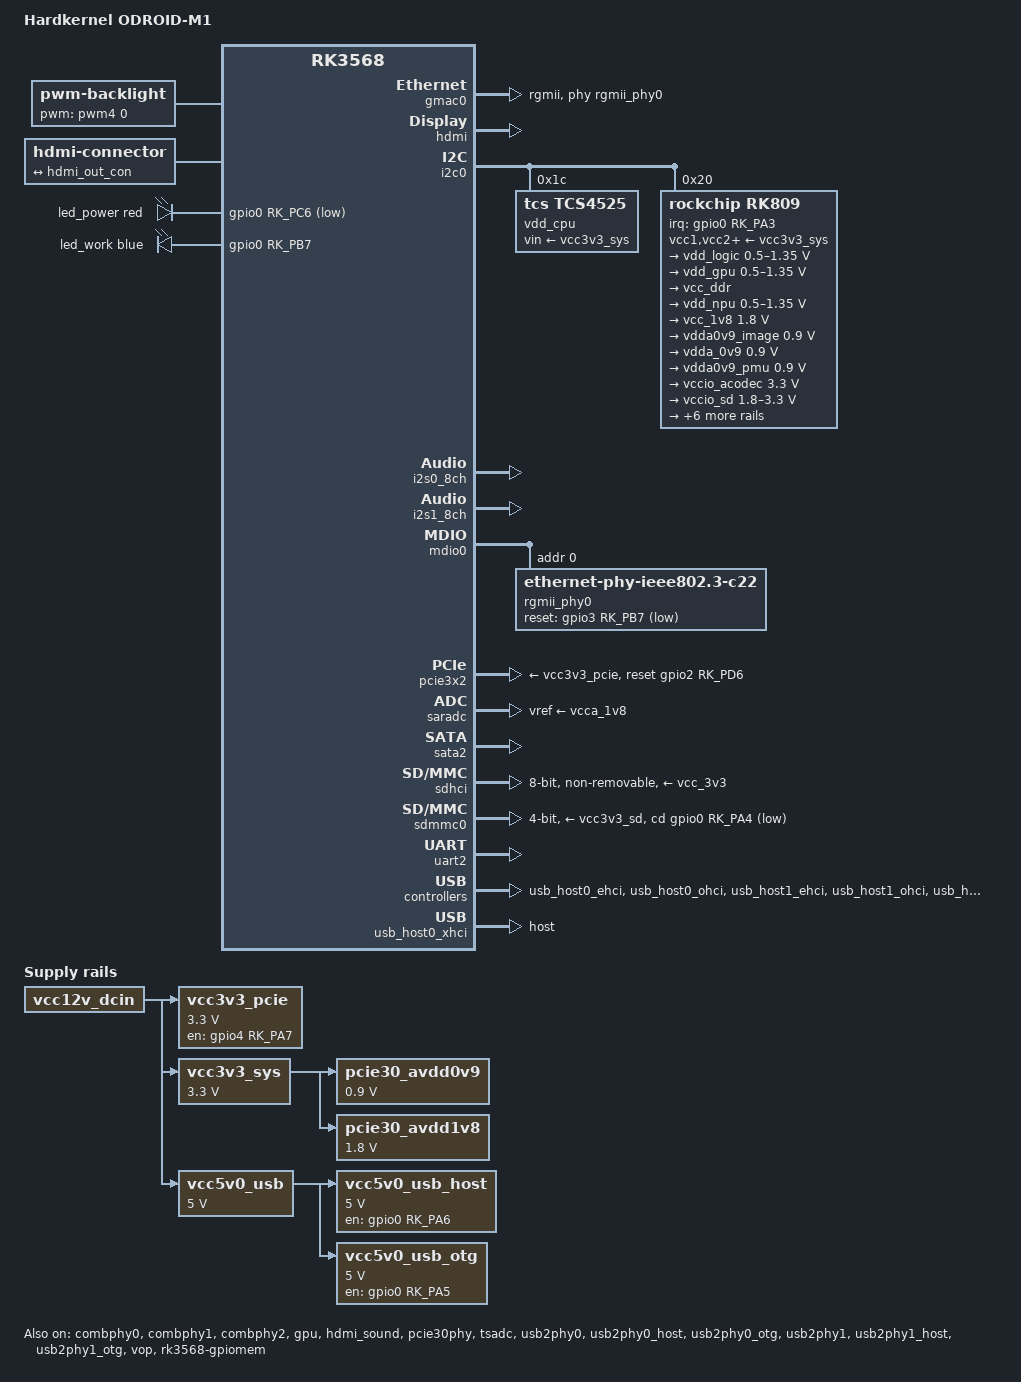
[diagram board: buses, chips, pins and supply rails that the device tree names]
// SPDX-License-Identifier: (GPL-2.0+ OR MIT)
/*
 * Copyright (c) 2022 Hardkernel Co., Ltd.
 *
 */

/dts-v1/;
#include <dt-bindings/gpio/gpio.h>
#include <dt-bindings/leds/common.h>
#include <dt-bindings/pinctrl/rockchip.h>
#include <dt-bindings/soc/rockchip,vop2.h>
#include "rk3568.dtsi"

/ {
	model = "Hardkernel ODROID-M1";
	compatible = "rockchip,rk3568-odroid-m1", "rockchip,rk3568";

	aliases {
		ethernet0 = &gmac0;
		i2c0 = &i2c3;
		i2c3 = &i2c0;
		mmc0 = &sdhci;
		mmc1 = &sdmmc0;
		serial0 = &uart1;
		serial1 = &uart0;
	};

	backlight: backlight {
		compatible = "pwm-backlight";
		pwms = <&pwm4 0 25000 0>;
		default-brightness-level = <200>;
		brightness-levels = <
			0  20  20  21  21  22  22  23
			23  24  24  25  25  26  26  27
			27  28  28  29  29  30  30  31
			31  32  32  33  33  34  34  35
			35  36  36  37  37  38  38  39
			40  41  42  43  44  45  46  47
			48  49  50  51  52  53  54  55
			56  57  58  59  60  61  62  63
			64  65  66  67  68  69  70  71
			72  73  74  75  76  77  78  79
			80  81  82  83  84  85  86  87
			88  89  90  91  92  93  94  95
			96  97  98  99 100 101 102 103
			104 105 106 107 108 109 110 111
			112 113 114 115 116 117 118 119
			120 121 122 123 124 125 126 127
			128 129 130 131 132 133 134 135
			136 137 138 139 140 141 142 143
			144 145 146 147 148 149 150 151
			152 153 154 155 156 157 158 159
			160 161 162 163 164 165 166 167
			168 169 170 171 172 173 174 175
			176 177 178 179 180 181 182 183
			184 185 186 187 188 189 190 191
			192 193 194 195 196 197 198 199
			200 201 202 203 204 205 206 207
			208 209 210 211 212 213 214 215
			216 217 218 219 220 221 222 223
			224 225 226 227 228 229 230 231
			232 233 234 235 236 237 238 239
			240 241 242 243 244 245 246 247
			248 249 250 251 252 253 254 255
			>;
	};

	chosen: chosen {
		stdout-path = "serial2:1500000n8";
	};

	hdmi-con {
		compatible = "hdmi-connector";
		type = "a";

		port {
			hdmi_con_in: endpoint {
				remote-endpoint = <&hdmi_out_con>;
			};
		};
	};

	lcd_pwren: lcd-pwren {
		compatible = "regulator-fixed";
		status = "disabled";
		regulator-name = "lcd_pwren";
		regulator-boot-on;
		enable-active-high;
		gpio = <&gpio0 RK_PC7 GPIO_ACTIVE_HIGH>;
		vin-supply = <&vcc3v3_sys>;
	};

	leds: leds {
		compatible = "gpio-leds";

		led_power: led-0 {
			gpios = <&gpio0 RK_PC6 GPIO_ACTIVE_LOW>;
			function = LED_FUNCTION_POWER;
			color = <LED_COLOR_ID_RED>;
			linux,default-trigger = "default-on";
			pinctrl-names = "default";
			pinctrl-0 = <&led_power_en>;
		};
		led_work: led-1 {
			gpios = <&gpio0 RK_PB7 GPIO_ACTIVE_HIGH>;
			function = LED_FUNCTION_HEARTBEAT;
			color = <LED_COLOR_ID_BLUE>;
			linux,default-trigger = "heartbeat";
			pinctrl-names = "default";
			pinctrl-0 = <&led_work_en>;
		};
	};

	rk809-sound {
		compatible = "simple-audio-card";
		simple-audio-card,format = "i2s";
		simple-audio-card,name = "ODROID-M1-FRONT";
		simple-audio-card,mclk-fs = <256>;
		status = "okay";

		simple-audio-card,cpu {
			sound-dai = <&i2s1_8ch>;
		};

		simple-audio-card,codec {
			sound-dai = <&rk809>;
		};
	};

	rk3568-gpiomem {
		compatible = "rockchip,rk3568-gpiomem";
		reg= <0x0 0xfd660000 0x0 0x1000>;
		status = "okay";
	};

	pcie30_avdd0v9: pcie30-avdd0v9 {
		compatible = "regulator-fixed";
		regulator-name = "pcie30_avdd0v9";
		regulator-always-on;
		regulator-boot-on;
		regulator-min-microvolt = <900000>;
		regulator-max-microvolt = <900000>;
		vin-supply = <&vcc3v3_sys>;
	};

	pcie30_avdd1v8: pcie30-avdd1v8 {
	        compatible = "regulator-fixed";
	        regulator-name = "pcie30_avdd1v8";
		regulator-always-on;
		regulator-boot-on;
		regulator-min-microvolt = <1800000>;
		regulator-max-microvolt = <1800000>;
		vin-supply = <&vcc3v3_sys>;
	};

	vcc12v_dcin: vcc12v-dcin {
		compatible = "regulator-fixed";
		regulator-name = "vcc12v_dcin";
		regulator-always-on;
		regulator-boot-on;
	};

	vcc3v3_pcie: gpio-regulator {
		compatible = "regulator-fixed";
		regulator-name = "vcc3v3_pcie";
		enable-active-high;
		regulator-min-microvolt = <3300000>;
		regulator-max-microvolt = <3300000>;
		gpio = <&gpio4 RK_PA7 GPIO_ACTIVE_HIGH>;
		startup-delay-us = <5000>;
		vin-supply = <&vcc12v_dcin>;
	};

	vcc3v3_sys: vcc3v3-sys {
		compatible = "regulator-fixed";
		regulator-name = "vcc3v3_sys";
		regulator-always-on;
		regulator-boot-on;
		regulator-min-microvolt = <3300000>;
		regulator-max-microvolt = <3300000>;
		vin-supply = <&vcc12v_dcin>;
	};

	vcc5v0_usb: vcc5v0-usb {
		compatible = "regulator-fixed";
		regulator-name = "vcc5v0_usb";
		regulator-always-on;
		regulator-boot-on;
		regulator-min-microvolt = <5000000>;
		regulator-max-microvolt = <5000000>;
		vin-supply = <&vcc12v_dcin>;
	};

	vcc5v0_usb_host: vcc5v0-usb-host {
		compatible = "regulator-fixed";
		enable-active-high;
		gpio = <&gpio0 RK_PA6 GPIO_ACTIVE_HIGH>;
		pinctrl-names = "default";
		pinctrl-0 = <&vcc5v0_usb_host_en>;
		regulator-name = "vcc5v0_usb_host";
		regulator-min-microvolt = <5000000>;
		regulator-max-microvolt = <5000000>;
		vin-supply = <&vcc5v0_usb>;
	};

	vcc5v0_usb_otg: vcc5v0-usb-otg {
		compatible = "regulator-fixed";
		enable-active-high;
		gpio = <&gpio0 RK_PA5 GPIO_ACTIVE_HIGH>;
		pinctrl-names = "default";
		pinctrl-0 = <&vcc5v0_usb_otg_en>;
		regulator-name = "vcc5v0_usb_otg";
		regulator-min-microvolt = <5000000>;
		regulator-max-microvolt = <5000000>;
		vin-supply = <&vcc5v0_usb>;
	};
};

&combphy0 {
	phy-supply = <&vcc5v0_usb_host>;
	status = "okay";
};

&combphy1 {
	phy-supply = <&vcc5v0_usb_otg>;
	status = "okay";
};

&combphy2 {
	status = "okay";
};

&cpu0 {
	cpu-supply = <&vdd_cpu>;
};

&cpu1 {
	cpu-supply = <&vdd_cpu>;
};

&cpu2 {
	cpu-supply = <&vdd_cpu>;
};

&cpu3 {
	cpu-supply = <&vdd_cpu>;
};

&dsi0 {
	#address-cells = <1>;
	#size-cells = <0>;

	status = "disabled";

	ports {
		dsi0_in: port@0 {
			reg = <0>;

			dsi0_in_vp1: endpoint {
				remote-endpoint = <&vp1_out_dsi0>;
			};
		};

		dsi0_out: port@1 {
			reg = <1>;

			mipi_out_panel: endpoint {
				remote-endpoint = <&mipi_in_panel>;
			};
		};
	};

	panel: panel@0 {
		compatible = "elida,hj080be31ia1";
		reg = <0>;

		status = "disabled";

		backlight = <&backlight>;
		power-supply = <&lcd_pwren>;
		reset-gpios = <&gpio2 RK_PC6 GPIO_ACTIVE_LOW>;

		port {
			mipi_in_panel: endpoint {
				remote-endpoint = <&mipi_out_panel>;
			};
		};
	};
};

&gmac0 {
	assigned-clocks = <&cru SCLK_GMAC0_RX_TX>, <&cru SCLK_GMAC0>;
	assigned-clock-parents = <&cru SCLK_GMAC0_RGMII_SPEED>;
	assigned-clock-rates = <0>, <125000000>;
	clock_in_out = "output";
	phy-handle = <&rgmii_phy0>;
	phy-mode = "rgmii";
	pinctrl-names = "default";
	pinctrl-0 = <&gmac0_miim
		     &gmac0_tx_bus2
		     &gmac0_rx_bus2
		     &gmac0_rgmii_clk
		     &gmac0_rgmii_bus>;
	status = "okay";

	tx_delay = <0x4f>;
	rx_delay = <0x2d>;
};

&gpu {
	mali-supply = <&vdd_gpu>;
	status = "okay";
};

&hdmi {
	avdd-0v9-supply = <&vdda0v9_image>;
	avdd-1v8-supply = <&vcca1v8_image>;
	status = "okay";
};

&hdmi_in {
	hdmi_in_vp0: endpoint {
		remote-endpoint = <&vp0_out_hdmi>;
	};
};

&hdmi_out {
	hdmi_out_con: endpoint {
		remote-endpoint = <&hdmi_con_in>;
	};
};

&hdmi_sound {
	simple-audio-card,name = "ODROID-M1-HDMI";
	status = "okay";
};

&i2c0 {
	status = "okay";

	vdd_cpu: regulator@1c {
		compatible = "tcs,tcs4525";
		reg = <0x1c>;
		fcs,suspend-voltage-selector = <1>;
		regulator-name = "vdd_cpu";
		regulator-always-on;
		regulator-boot-on;
		regulator-min-microvolt = <800000>;
		regulator-max-microvolt = <1150000>;
		regulator-ramp-delay = <2300>;
		vin-supply = <&vcc3v3_sys>;

		regulator-state-mem {
			regulator-off-in-suspend;
		};
	};

	rk809: pmic@20 {
		compatible = "rockchip,rk809";
		reg = <0x20>;
		interrupt-parent = <&gpio0>;
		interrupts = <RK_PA3 IRQ_TYPE_LEVEL_LOW>;
		assigned-clocks = <&cru I2S1_MCLKOUT_TX>;
		assigned-clock-parents = <&cru CLK_I2S1_8CH_TX>;
		#clock-cells = <1>;
		clock-names = "mclk";
		clocks = <&cru I2S1_MCLKOUT_TX>;
		pinctrl-names = "default";
		pinctrl-0 = <&pmic_int>, <&i2s1m0_mclk>;
		rockchip,system-power-controller;
		#sound-dai-cells = <0>;
		vcc1-supply = <&vcc3v3_sys>;
		vcc2-supply = <&vcc3v3_sys>;
		vcc3-supply = <&vcc3v3_sys>;
		vcc4-supply = <&vcc3v3_sys>;
		vcc5-supply = <&vcc3v3_sys>;
		vcc6-supply = <&vcc3v3_sys>;
		vcc7-supply = <&vcc3v3_sys>;
		vcc8-supply = <&vcc3v3_sys>;
		vcc9-supply = <&vcc3v3_sys>;
		wakeup-source;

		regulators {
			vdd_logic: DCDC_REG1 {
				regulator-name = "vdd_logic";
				regulator-always-on;
				regulator-boot-on;
				regulator-init-microvolt = <900000>;
				regulator-initial-mode = <0x2>;
				regulator-min-microvolt = <500000>;
				regulator-max-microvolt = <1350000>;
				regulator-ramp-delay = <6001>;

				regulator-state-mem {
					regulator-off-in-suspend;
				};
			};

			vdd_gpu: DCDC_REG2 {
				regulator-name = "vdd_gpu";
				regulator-always-on;
				regulator-init-microvolt = <900000>;
				regulator-initial-mode = <0x2>;
				regulator-min-microvolt = <500000>;
				regulator-max-microvolt = <1350000>;
				regulator-ramp-delay = <6001>;

				regulator-state-mem {
					regulator-off-in-suspend;
				};
			};

			vcc_ddr: DCDC_REG3 {
				regulator-name = "vcc_ddr";
				regulator-always-on;
				regulator-boot-on;
				regulator-initial-mode = <0x2>;

				regulator-state-mem {
					regulator-on-in-suspend;
				};
			};

			vdd_npu: DCDC_REG4 {
				regulator-name = "vdd_npu";
				regulator-init-microvolt = <900000>;
				regulator-initial-mode = <0x2>;
				regulator-min-microvolt = <500000>;
				regulator-max-microvolt = <1350000>;
				regulator-ramp-delay = <6001>;

				regulator-state-mem {
					regulator-off-in-suspend;
				};
			};

			vcc_1v8: DCDC_REG5 {
				regulator-name = "vcc_1v8";
				regulator-always-on;
				regulator-boot-on;
				regulator-min-microvolt = <1800000>;
				regulator-max-microvolt = <1800000>;

				regulator-state-mem {
					regulator-off-in-suspend;
				};
			};

			vdda0v9_image: LDO_REG1 {
				regulator-name = "vdda0v9_image";
				regulator-always-on;
				regulator-min-microvolt = <900000>;
				regulator-max-microvolt = <900000>;

				regulator-state-mem {
					regulator-off-in-suspend;
				};
			};

			vdda_0v9: LDO_REG2 {
				regulator-name = "vdda_0v9";
				regulator-always-on;
				regulator-boot-on;
				regulator-min-microvolt = <900000>;
				regulator-max-microvolt = <900000>;

				regulator-state-mem {
					regulator-off-in-suspend;
				};
			};

			vdda0v9_pmu: LDO_REG3 {
				regulator-name = "vdda0v9_pmu";
				regulator-always-on;
				regulator-boot-on;
				regulator-min-microvolt = <900000>;
				regulator-max-microvolt = <900000>;

				regulator-state-mem {
					regulator-on-in-suspend;
					regulator-suspend-microvolt = <900000>;
				};
			};

			vccio_acodec: LDO_REG4 {
				regulator-name = "vccio_acodec";
				regulator-always-on;
				regulator-min-microvolt = <3300000>;
				regulator-max-microvolt = <3300000>;

				regulator-state-mem {
					regulator-off-in-suspend;
				};
			};

			vccio_sd: LDO_REG5 {
				regulator-name = "vccio_sd";
				regulator-min-microvolt = <1800000>;
				regulator-max-microvolt = <3300000>;

				regulator-state-mem {
					regulator-off-in-suspend;
				};
			};

			vcc3v3_pmu: LDO_REG6 {
				regulator-name = "vcc3v3_pmu";
				regulator-always-on;
				regulator-boot-on;
				regulator-min-microvolt = <3300000>;
				regulator-max-microvolt = <3300000>;

				regulator-state-mem {
					regulator-on-in-suspend;
					regulator-suspend-microvolt = <3300000>;
				};
			};

			vcca_1v8: LDO_REG7 {
				regulator-name = "vcca_1v8";
				regulator-always-on;
				regulator-boot-on;
				regulator-min-microvolt = <1800000>;
				regulator-max-microvolt = <1800000>;

				regulator-state-mem {
					regulator-off-in-suspend;
				};
			};

			vcca1v8_pmu: LDO_REG8 {
				regulator-name = "vcca1v8_pmu";
				regulator-always-on;
				regulator-boot-on;
				regulator-min-microvolt = <1800000>;
				regulator-max-microvolt = <1800000>;

				regulator-state-mem {
					regulator-on-in-suspend;
					regulator-suspend-microvolt = <1800000>;
				};
			};

			vcca1v8_image: LDO_REG9 {
				regulator-name = "vcca1v8_image";
				regulator-always-on;
				regulator-min-microvolt = <1800000>;
				regulator-max-microvolt = <1800000>;

				regulator-state-mem {
					regulator-off-in-suspend;
				};
			};

			vcc_3v3: SWITCH_REG1 {
				regulator-name = "vcc_3v3";
				regulator-always-on;
				regulator-boot-on;

				regulator-state-mem {
					regulator-off-in-suspend;
				};
			};

			vcc3v3_sd: SWITCH_REG2 {
				regulator-name = "vcc3v3_sd";

				regulator-state-mem {
					regulator-off-in-suspend;
				};
			};
		};

		codec {
			mic-in-differential;
		};
	};
};

&i2c3 {
	status = "disabled";
	pinctrl-names = "default";
	pinctrl-0 = <&i2c3m1_xfer>;
};

&i2c4 {
	status = "disabled";

	clock-frequency = <400000>;

	touch: touch@5d {
		compatible = "goodix,gt911";
		reg = <0x5d>;

		pinctrl-names = "default";
		pinctrl-0 = <&touch_int &touch_rst>;

		interrupt-parent = <&gpio0>;
		interrupts = <RK_PC4 IRQ_TYPE_LEVEL_LOW>;

		irq-gpios = <&gpio0 RK_PC4 IRQ_TYPE_LEVEL_LOW>;
		reset-gpios = <&gpio4 RK_PB0 GPIO_ACTIVE_LOW>;
	};
};

&i2s0_8ch {
	status = "okay";
};

&i2s1_8ch {
	rockchip,trcm-sync-tx-only;
	status = "okay";
};

&mdio0 {
	rgmii_phy0: ethernet-phy@0 {
		compatible = "ethernet-phy-ieee802.3-c22";
		reg = <0x0>;
		reset-assert-us = <20000>;
		reset-deassert-us = <100000>;
		reset-gpios = <&gpio3 RK_PB7 GPIO_ACTIVE_LOW>;
	};
};

&pcie30phy {
	status = "okay";
};

&pcie3x2 {
	reset-gpios = <&gpio2 RK_PD6 GPIO_ACTIVE_HIGH>;
	vpcie3v3-supply = <&vcc3v3_pcie>;
	status = "okay";
};

&pinctrl {
	can_pins {
		mcp2515_int_pins: mcp2515_int_pins {
			rockchip,pins = <0 RK_PC0 RK_FUNC_GPIO &pcfg_pull_none>;
		};
	};

	leds {
		led_power_en: led_power_en {
			rockchip,pins = <0 RK_PC6 RK_FUNC_GPIO &pcfg_pull_none>;
		};
		led_work_en: led_work_en {
			rockchip,pins = <0 RK_PB7 RK_FUNC_GPIO &pcfg_pull_none>;
		};
	};

	pmic {
		pmic_int: pmic_int {
			rockchip,pins =
				<0 RK_PA3 RK_FUNC_GPIO &pcfg_pull_up>;
		};
	};

	usb {
		vcc5v0_usb_host_en: vcc5v0_usb_host_en {
			rockchip,pins = <0 RK_PA6 RK_FUNC_GPIO &pcfg_pull_none>;
		};
		vcc5v0_usb_otg_en: vcc5v0_usb_dr_en {
			rockchip,pins = <0 RK_PA5 RK_FUNC_GPIO &pcfg_pull_none>;
		};
	};

	touchscreen {
		touch_int: touch_int {
			rockchip,pins = <0 RK_PC4 RK_FUNC_GPIO &pcfg_pull_up>;
		};

		touch_rst: touch_rst {
			rockchip,pins = <4 RK_PB0 RK_FUNC_GPIO &pcfg_pull_up>;
		};
	};
};

&pmu_io_domains {
	pmuio1-supply = <&vcc3v3_pmu>;
	pmuio2-supply = <&vcc3v3_pmu>;
	vccio1-supply = <&vccio_acodec>;
	vccio2-supply = <&vcc_1v8>;
	vccio3-supply = <&vccio_sd>;
	vccio4-supply = <&vcc_1v8>;
	vccio5-supply = <&vcc_3v3>;
	vccio6-supply = <&vcc_3v3>;
	vccio7-supply = <&vcc_3v3>;
	status = "okay";
};

&pwm1 {
	status = "disabled";
	pinctrl-0 = <&pwm1m1_pins>;
};

&pwm2 {
	status = "disabled";
	pinctrl-0 = <&pwm2m1_pins>;
};

&saradc {
	vref-supply = <&vcca_1v8>;
	status = "okay";
};

&sata2 {
	status = "okay";
};

&sdhci {
	bus-width = <8>;
	max-frequency = <200000000>;
	non-removable;
	pinctrl-names = "default";
	pinctrl-0 = <&emmc_bus8 &emmc_clk &emmc_cmd &emmc_datastrobe &emmc_rstnout>;
	vmmc-supply = <&vcc_3v3>;
	vqmmc-supply = <&vcc_1v8>;
	status = "okay";
};

&sdmmc0 {
	bus-width = <4>;
	cap-sd-highspeed;
	cd-gpios = <&gpio0 RK_PA4 GPIO_ACTIVE_LOW>;
	disable-wp;
	pinctrl-names = "default";
	pinctrl-0 = <&sdmmc0_bus4 &sdmmc0_clk &sdmmc0_cmd &sdmmc0_det>;
	sd-uhs-sdr104;
	vmmc-supply = <&vcc3v3_sd>;
	vqmmc-supply = <&vccio_sd>;
	status = "okay";
};

&spi0 {
	pinctrl-names = "default";
	pinctrl-0 = <&spi0m1_cs0 &spi0m1_pins>;
	status = "disabled";
};

&tsadc {
	rockchip,hw-tshut-mode = <1>;
	rockchip,hw-tshut-polarity = <0>;
	status = "okay";
};

&uart1 {
	dma-names = "tx", "rx";
	/* uart1 uart1-with-ctsrts */
	pinctrl-0 = <&uart1m1_xfer>;
	pinctrl-1 = <&uart1m1_xfer &uart1m1_ctsn &uart1m1_rtsn>;
	status = "disabled";
};

&uart2 {
	status = "okay";
};

&usb_host0_ehci {
	status = "okay";
};

&usb_host0_ohci {
	status = "okay";
};

&usb_host0_xhci {
	dr_mode = "host";
	status = "okay";
};

&usb_host1_ehci {
	status = "okay";
};

&usb_host1_ohci {
	status = "okay";
};

&usb_host1_xhci {
	status = "okay";
};

&usb2phy0 {
	status = "okay";
};

&usb2phy0_host {
	phy-supply = <&vcc5v0_usb_host>;
	status = "okay";
};

&usb2phy0_otg {
	vbus-supply = <&vcc5v0_usb_otg>;
	status = "okay";
};

&usb2phy1 {
	status = "okay";
};

&usb2phy1_host {
	phy-supply = <&vcc5v0_usb_host>;
	status = "okay";
};

&usb2phy1_otg {
	phy-supply = <&vcc5v0_usb_host>;
	status = "okay";
};

&vop {
	assigned-clocks = <&cru DCLK_VOP0>, <&cru DCLK_VOP1>;
	assigned-clock-parents = <&pmucru PLL_HPLL>, <&cru PLL_VPLL>;
	status = "okay";
};

&vop_mmu {
	status = "okay";
};

&vp0 {
	vp0_out_hdmi: endpoint@ROCKCHIP_VOP2_EP_HDMI0 {
		reg = <ROCKCHIP_VOP2_EP_HDMI0>;
		remote-endpoint = <&hdmi_in_vp0>;
	};
};

&vp1 {
	vp1_out_dsi0: endpoint@ROCKCHIP_VOP2_EP_MIPI0 {
		reg = <ROCKCHIP_VOP2_EP_MIPI0>;
		remote-endpoint = <&dsi0_in_vp1>;
	};
};
